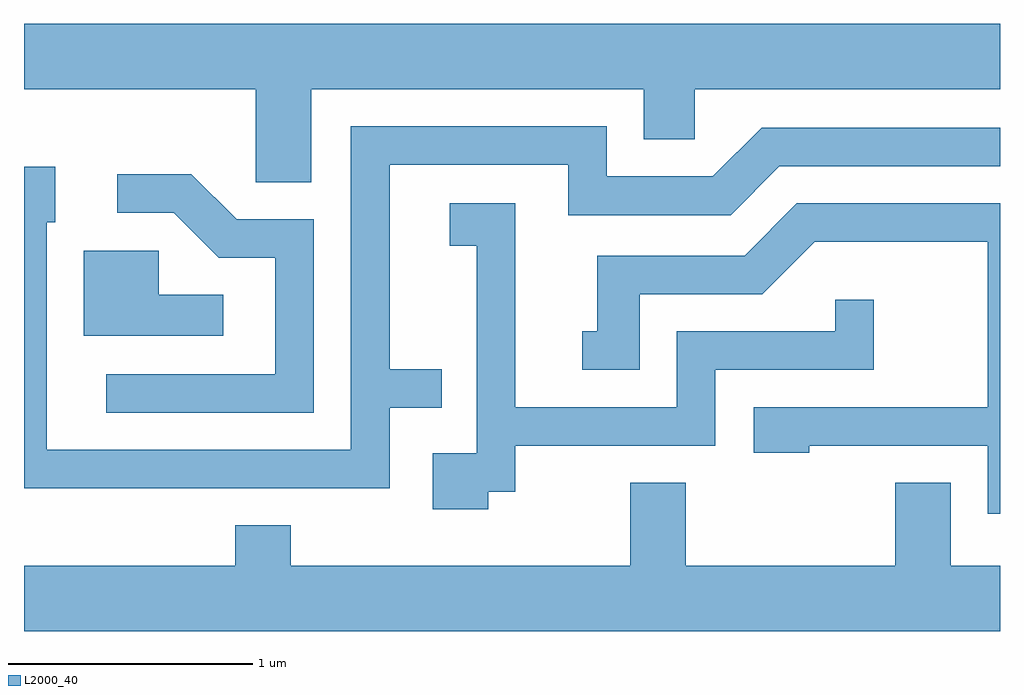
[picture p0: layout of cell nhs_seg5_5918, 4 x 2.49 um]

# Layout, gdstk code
import gdstk
lib = gdstk.Library(unit=1e-6, precision=1e-09)
def P(c, l, *ps):  # polygons
    for p in ps: c.add(gdstk.Polygon(p, *l))
L2000_40 = (2000, 40)

nhs_seg5_5918 = lib.new_cell('nhs_seg5_5918')
P(nhs_seg5_5918, L2000_40, [(360.789,1525.616),(362.151,1525.616),(362.151,1525.411),(362.359,1525.411),(362.359,1525.616),(363.611,1525.616),(363.611,1525.884),(359.611,1525.884),(359.611,1525.616),(360.561,1525.616),(360.561,1525.236),(360.789,1525.236)],
  [(361.109,1524.311),(361.323,1524.311),(361.323,1524.469),(361.109,1524.469),(361.109,1525.306),(361.841,1525.306),(361.841,1525.101),(362.507,1525.101),(362.707,1525.301),(363.611,1525.301),(363.611,1525.459),(362.634,1525.459),(362.434,1525.259),(361.999,1525.259),(361.999,1525.464),(360.951,1525.464),(360.951,1524.139),(359.704,1524.139),(359.704,1525.071),(359.739,1525.071),(359.739,1525.299),(359.611,1525.299),(359.611,1523.981),(361.109,1523.981)],
  [(360.799,1525.084),(360.482,1525.084),(360.297,1525.269),(359.993,1525.269),(359.993,1525.111),(360.224,1525.111),(360.409,1524.926),(360.641,1524.926),(360.641,1524.449),(359.948,1524.449),(359.948,1524.291),(360.799,1524.291)],
  [(363.611,1525.149),(362.779,1525.149),(362.564,1524.934),(361.961,1524.934),(361.961,1524.624),(361.898,1524.624),(361.898,1524.466),(362.134,1524.466),(362.134,1524.776),(362.637,1524.776),(362.852,1524.991),(363.561,1524.991),(363.561,1524.314),(362.601,1524.314),(362.601,1524.126),(362.829,1524.126),(362.829,1524.156),(363.561,1524.156),(363.561,1523.876),(363.611,1523.876)],
  [(361.514,1523.966),(361.624,1523.966),(361.624,1524.156),(362.444,1524.156),(362.444,1524.466),(363.094,1524.466),(363.094,1524.753),(362.936,1524.753),(362.936,1524.624),(362.286,1524.624),(362.286,1524.314),(361.624,1524.314),(361.624,1525.149),(361.356,1525.149),(361.356,1524.976),(361.466,1524.976),(361.466,1524.124),(361.286,1524.124),(361.286,1523.896),(361.514,1523.896)],
  [(360.428,1524.774),(360.164,1524.774),(360.164,1524.954),(359.856,1524.954),(359.856,1524.606),(360.428,1524.606)],
  [(363.611,1523.664),(363.409,1523.664),(363.409,1524.004),(363.181,1524.004),(363.181,1523.664),(362.324,1523.664),(362.324,1524.004),(362.096,1524.004),(362.096,1523.664),(360.704,1523.664),(360.704,1523.829),(360.476,1523.829),(360.476,1523.664),(359.611,1523.664),(359.611,1523.396),(363.611,1523.396)])

lib.write_gds('nhs_seg5_5918.gds')
